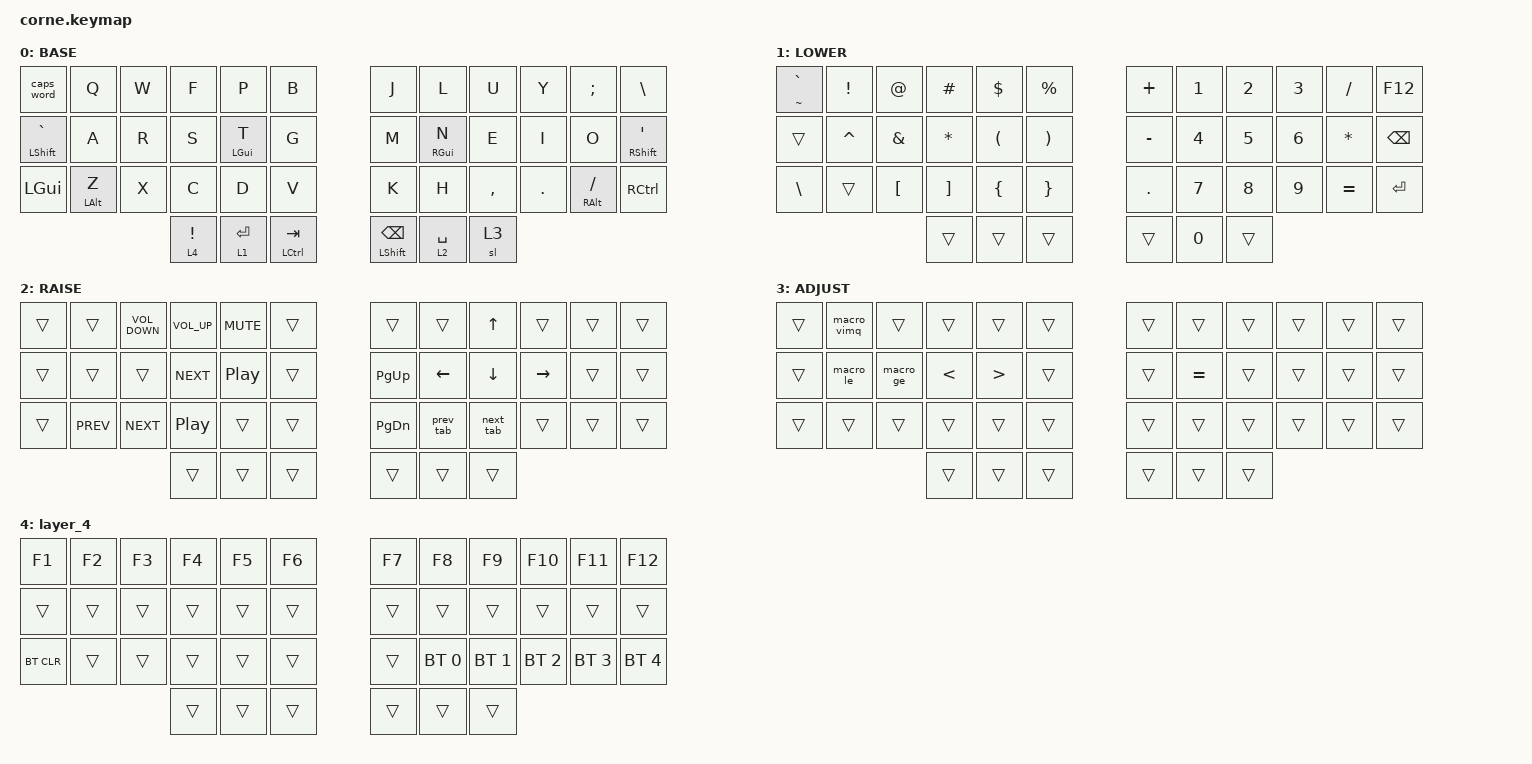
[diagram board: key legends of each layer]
/*
 * Corne (foostan, 6-column / 42-key) ZMK keymap
 * Ported from a ZSA Voyager Colemak-DH layout (Oryx / QMK).
 *
 * Layer map:
 *   0  BASE    Colemak-DH alphas + home-row mods
 *   1  LOWER   symbols + numpad
 *   2  RAISE   nav + media + F-keys
 *   3  ADJUST  Vim/operator macros
 *
 * Corne key-position numbering (for combos / hold-trigger positions):
 *   0  1  2  3  4  5      6  7  8  9  10 11
 *   12 13 14 15 16 17    18 19 20 21 22 23
 *   24 25 26 27 28 29    30 31 32 33 34 35
 *            36 37 38    39 40 41
 *
 */

#include <behaviors.dtsi>
#include <dt-bindings/zmk/bt.h>
#include <dt-bindings/zmk/keys.h>

/ {
    behaviors {
        ht: hold_tap_general {
            compatible = "zmk,behavior-hold-tap";
            #binding-cells = <2>;
            flavor = "tap-preferred";
            tapping-term-ms = <200>;
            bindings = <&kp>, <&kp>;
        };

        hml: home_row_mod_left {
            compatible = "zmk,behavior-hold-tap";
            #binding-cells = <2>;
            flavor = "tap-preferred";
            tapping-term-ms = <150>;
            quick-tap-ms = <175>;
            require-prior-idle-ms = <250>;
            bindings = <&kp>, <&kp>;

            hold-trigger-key-positions = <6 7 8 9 10 11 18 19 20 21 22 23 30 31 32 33 34 35 36 37 38 39 40 41>;
            hold-trigger-on-release;
        };

        /* Home-row mods, right hand. */

        hmr: home_row_mod_right {
            compatible = "zmk,behavior-hold-tap";
            #binding-cells = <2>;
            flavor = "tap-preferred";
            tapping-term-ms = <150>;
            quick-tap-ms = <175>;
            require-prior-idle-ms = <250>;
            bindings = <&kp>, <&kp>;

            hold-trigger-key-positions = <0 1 2 3 4 5 12 13 14 15 16 17 24 25 26 27 28 29 36 37 38 39 40 41>;
            hold-trigger-on-release;
        };
    };

    macros {
        /* ST_MACRO_0 : ":q<CR>"  (Vim quit) */

        macro_vimq: macro_vimq {
            compatible = "zmk,behavior-macro";
            #binding-cells = <0>;
            bindings = <&kp COLON &kp Q &kp ENTER>;
        };

        /* ST_MACRO_6 : ":w<CR>"  (Vim write) */

        macro_vimw: macro_vimw {
            compatible = "zmk,behavior-macro";
            #binding-cells = <0>;
            bindings = <&kp COLON &kp W &kp ENTER>;
        };

        /* ST_MACRO_1 : "<=" */

        macro_le: macro_le {
            compatible = "zmk,behavior-macro";
            #binding-cells = <0>;
            bindings = <&kp LT &kp EQUAL>;
        };

        /* ST_MACRO_2 : ">=" */

        macro_ge: macro_ge {
            compatible = "zmk,behavior-macro";
            #binding-cells = <0>;
            bindings = <&kp GT &kp EQUAL>;
        };

        /* ST_MACRO_3 : "->" */

        macro_arrow: macro_arrow {
            compatible = "zmk,behavior-macro";
            #binding-cells = <0>;
            bindings = <&kp MINUS &kp GT>;
        };

        /* ST_MACRO_4 : "=>" */

        macro_fatarrow: macro_fatarrow {
            compatible = "zmk,behavior-macro";
            #binding-cells = <0>;
            bindings = <&kp EQUAL &kp GT>;
        };

        /* ST_MACRO_5 : originally  Alt + (KP2 KP2 B KP8)  -- an OS-specific
         * Unicode / Windows alt-code entry. This has no portable ZMK form:
         * implement per-OS yourself (e.g. Linux ibus Ctrl+Shift+U hex entry,
         * or a &kp of the actual glyph if your OS layout has one). Stubbed. */

        macro_unicode: macro_unicode {
            compatible = "zmk,behavior-macro";
            #binding-cells = <0>;
            bindings = <&none>;
        };

        next_tab: next_tab {
            compatible = "zmk,behavior-macro";
            #binding-cells = <0>;
            bindings = <&kp LCTRL &kp TAB>;
            label = "NEXT_TAB";
        };

        prev_tab: prev_tab {
            compatible = "zmk,behavior-macro";
            #binding-cells = <0>;
            bindings = <&kp LCTRL &kp LSHIFT &kp TAB>;
            label = "PREV_TAB";
        };
    };

    combos {
        compatible = "zmk,combos";

        /* --- two-key combos --- */

        combo_esc {
            timeout-ms = <45>;
            require-prior-idle-ms = <150>;
            key-positions = <7 8>;
            bindings = <&kp ESC>;
        };           /* L + U */
        combo_arrow {
            timeout-ms = <45>;
            require-prior-idle-ms = <150>;
            key-positions = <17 18>;
            bindings = <&macro_arrow>;
        };      /* G + M  -> "->" */
        combo_vimw {
            timeout-ms = <45>;
            require-prior-idle-ms = <150>;
            key-positions = <2 22>;
            bindings = <&macro_vimw>;
        };       /* W + O  -> ":w" */
        combo_sl3 {
            timeout-ms = <55>;
            require-prior-idle-ms = <150>;
            key-positions = <37 40>;
            bindings = <&sl 3>;
        };             /* Enter + Space thumbs */
        combo_ck {
            timeout-ms = <55>;
            require-prior-idle-ms = <150>;
            key-positions = <8 40>;
            bindings = <&kp LC(K)>;
        };         /* U + Space */
        combo_cj {
            timeout-ms = <55>;
            require-prior-idle-ms = <150>;
            key-positions = <20 40>;
            bindings = <&kp LC(J)>;
        };         /* E + Space */
        combo_ch {
            timeout-ms = <55>;
            require-prior-idle-ms = <150>;
            key-positions = <19 40>;
            bindings = <&kp LC(H)>;
        };         /* N + Space */
        combo_cl {
            timeout-ms = <55>;
            require-prior-idle-ms = <150>;
            key-positions = <21 40>;
            bindings = <&kp LC(L)>;
        };         /* I + Space */
        /* --- three-key combos --- */

        combo_fatarrow {
            timeout-ms = <55>;
            require-prior-idle-ms = <150>;
            key-positions = <17 18 39>;
            bindings = <&macro_fatarrow>;
        };  /* G + M + Bspc -> "=>" */
        combo_unicode {
            timeout-ms = <55>;
            require-prior-idle-ms = <150>;
            key-positions = <17 18 38>;
            bindings = <&macro_unicode>;
        };   /* G + M + Tab (see macro note) */
        combo_lgrave {
            timeout-ms = <55>;
            require-prior-idle-ms = <150>;
            key-positions = <25 26 27>;
            bindings = <&kp LG(GRAVE)>;
        };    /* Z + X + C */
    };

    keymap {
        compatible = "zmk,keymap";

        base_layer {
            display-name = "BASE";
            bindings = <
&caps_word        &kp Q        &kp W  &kp F              &kp P        &kp B            &kp J           &kp L        &kp U      &kp Y    &kp SEMI        &kp BACKSLASH
&hml LSHFT GRAVE  &kp A        &kp R  &kp S              &hml LGUI T  &kp G            &kp M           &hmr RGUI N  &kp E      &kp I    &kp O           &hmr RSHFT SQT
&kp LGUI          &hml LALT Z  &kp X  &kp C              &kp D        &kp V            &kp K           &kp H        &kp COMMA  &kp DOT  &hmr RALT FSLH  &kp RCTRL
                                      &lt 4 EXCLAMATION  &lt 1 ENTER  &mt LCTRL TAB    &mt LSHFT BSPC  &lt 2 SPACE  &sl 3
            >;
        };

        lower_layer {
            display-name = "LOWER";
            bindings = <
&ht TILDE GRAVE  &kp EXCL   &kp AT    &kp HASH  &kp DLLR  &kp PRCNT    &kp PLUS   &kp N1  &kp N2  &kp N3  &kp FSLH   &kp F12
&trans           &kp CARET  &kp AMPS  &kp STAR  &kp LPAR  &kp RPAR     &kp MINUS  &kp N4  &kp N5  &kp N6  &kp STAR   &kp BSPC
&kp BSLH         &trans     &kp LBKT  &kp RBKT  &kp LBRC  &kp RBRC     &kp DOT    &kp N7  &kp N8  &kp N9  &kp EQUAL  &kp ENTER
                                      &trans    &trans    &trans       &trans     &kp N0  &trans
            >;
        };

        raise_layer {
            display-name = "RAISE";
            bindings = <
&trans  &trans      &kp C_VOLUME_DOWN  &kp C_VOLUME_UP  &kp C_MUTE  &trans    &trans     &trans     &kp UP_ARROW  &trans     &trans  &trans
&trans  &trans      &trans             &kp C_NEXT       &kp C_PP    &trans    &kp PG_UP  &kp LEFT   &kp DOWN      &kp RIGHT  &trans  &trans
&trans  &kp C_PREV  &kp C_NEXT         &kp C_PP         &trans      &trans    &kp PG_DN  &prev_tab  &next_tab     &trans     &trans  &trans
                                       &trans           &trans      &trans    &trans     &trans     &trans
            >;
        };

        adjust_layer {
            display-name = "ADJUST";
            bindings = <
&trans  &macro_vimq  &trans     &trans  &trans  &trans    &trans  &trans     &trans  &trans  &trans  &trans
&trans  &macro_le    &macro_ge  &kp LT  &kp GT  &trans    &trans  &kp EQUAL  &trans  &trans  &trans  &trans
&trans  &trans       &trans     &trans  &trans  &trans    &trans  &trans     &trans  &trans  &trans  &trans
                                &trans  &trans  &trans    &trans  &trans     &trans
            >;
        };

        layer_4 {
            bindings = <
&kp F1      &kp F2  &kp F3  &kp F4  &kp F5  &kp F6    &kp F7  &kp F8        &kp F9        &kp F10       &kp F11       &kp F12
&trans      &trans  &trans  &trans  &trans  &trans    &trans  &trans        &trans        &trans        &trans        &trans
&bt BT_CLR  &trans  &trans  &trans  &trans  &trans    &trans  &bt BT_SEL 0  &bt BT_SEL 1  &bt BT_SEL 2  &bt BT_SEL 3  &bt BT_SEL 4
                            &trans  &trans  &trans    &trans  &trans        &trans
            >;
        };
    };
};
